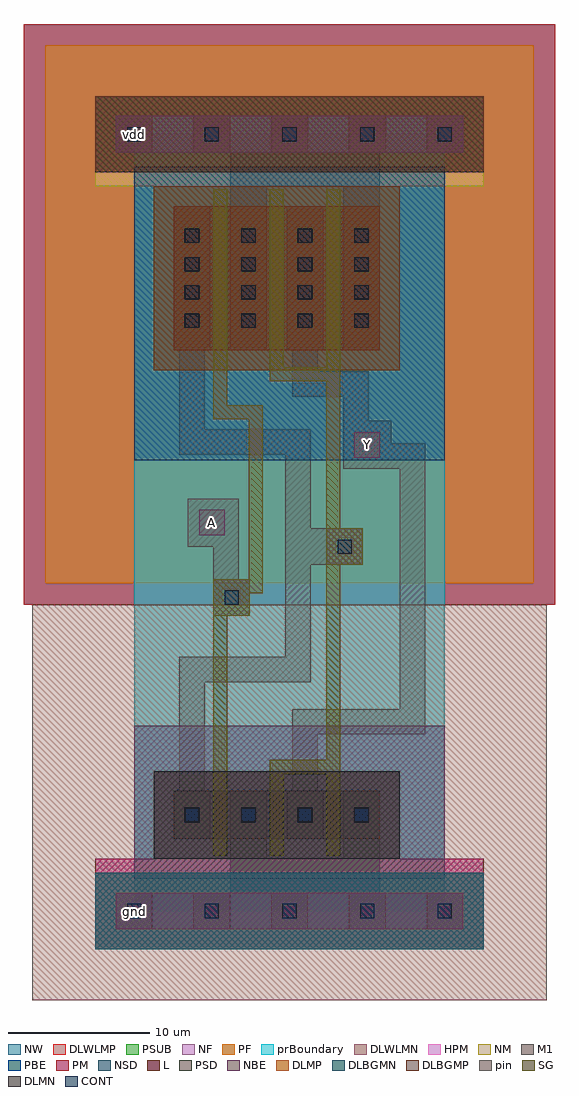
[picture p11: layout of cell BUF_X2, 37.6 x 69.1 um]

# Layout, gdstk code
import gdstk
lib = gdstk.Library(unit=1e-6, precision=1e-09)
def R(c, l, rs):  # rectangles x0, y0, x1, y1
    for r in rs: c.add(gdstk.rectangle(r[:2], r[2:], *l))
def A(c, l, x, y, w, h, nx, ny, dx, dy):  # array of equal rectangles
    R(c, l, [(x+i*dx, y+j*dy, x+i*dx+w, y+j*dy+h) for i in range(nx) for j in range(ny)])
def P(c, l, *ps):  # polygons
    for p in ps: c.add(gdstk.Polygon(p, *l))
L = (3, 0)
NM = (7, 0)
SG = (8, 0)
PSD = (9, 0)
CONT = (11, 0)
M1 = (13, 0)
NF = (25, 0)
PF = (26, 0)
NSD = (28, 0)
HPM = (33, 0)
PM = (35, 0)
NW = (36, 0)
pin = (48, 1)
PSUB = (140, 0)
PBE = (146, 0)
NBE = (147, 0)
DLWLMP = (150, 0)
DLWLMN = (151, 0)
DLMP = (157, 0)
DLMN = (158, 0)
DLBGMP = (177, 0)
DLBGMN = (178, 0)
prBoundary = (235, 0)

buf_x2 = lib.new_cell('BUF_X2')
A(buf_x2, L, -1.3, -1.3, 2.6, 2.6, 5, 2, 5.5, 55)
R(buf_x2, L, [(2.8,5.1,17.4,8.5), (2.8,39.7,17.4,49.9)])
R(buf_x2, NM, [(-2.75,-2.7,24.75,2.7)])
P(buf_x2, NM, [(1.4,38.3),(1.4,51.3),(-2.75,51.3),(-2.75,57.7),(24.75,57.7),(24.75,51.3),(18.8,51.3),(18.8,38.3)])
P(buf_x2, SG, [(5.6,3.9),(5.6,23.5),(8.1,23.5),(8.1,34.8),(5.6,34.8),(5.6,51.1),(6.6,51.1),(6.6,35.8),(9.1,35.8),(9.1,22.5),(8.2,22.5),(8.2,20.9),(6.6,20.9),(6.6,3.9)],
  [(9.6,3.9),(9.6,10.7),(13.6,10.7),(13.6,37.5),(9.6,37.5),(9.6,51.1),(10.6,51.1),(10.6,38.5),(13.6,38.5),(13.6,51.1),(14.6,51.1),(14.6,27.1),(16.2,27.1),(16.2,24.5),(14.6,24.5),(14.6,3.9),(13.6,3.9),(13.6,9.7),(10.6,9.7),(10.6,3.9)])
R(buf_x2, PSD, [(1.4,3.7,18.8,9.9), (-2.75,52.3,24.75,57.7)])
A(buf_x2, CONT, -0.5, -0.5, 1, 1, 5, 2, 5.5, 55)
A(buf_x2, CONT, 7.6, 6.3, 1, 1, 3, 2, 4, 35)
A(buf_x2, CONT, 3.6, 41.3, 1, 1, 1, 4, 0, 2)
A(buf_x2, CONT, 7.6, 41.3, 1, 1, 1, 4, 0, 2)
A(buf_x2, CONT, 7.6, 43.3, 1, 1, 3, 3, 4, 2)
R(buf_x2, CONT, [(3.6,6.3,4.6,7.3), (7.6,6.3,8.6,7.3), (6.4,21.7,7.4,22.7), (14.4,25.3,15.4,26.3)])
P(buf_x2, M1, [(-1.3,-1.3),(-1.3,1.3),(6.8,1.3),(6.8,8.5),(9.4,8.5),(9.4,3.7),(14.8,3.7),(14.8,8.5),(17.4,8.5),(17.4,1.3),(23.3,1.3),(23.3,-1.3)],
  [(5.6,20.9),(5.6,25.8),(3.8,25.8),(3.8,29.2),(7.4,29.2),(7.4,23.5),(8.2,23.5),(8.2,20.9)],
  [(2.8,5.1),(2.8,8.5),(3.2,8.5),(3.2,18),(10.7,18),(10.7,32.3),(3.2,32.3),(3.2,39.7),(2.8,39.7),(2.8,49.9),(5.4,49.9),(5.4,39.7),(5,39.7),(5,34.1),(12.5,34.1),(12.5,27.1),(16.2,27.1),(16.2,24.5),(12.5,24.5),(12.5,16.2),(5,16.2),(5,8.5),(5.4,8.5),(5.4,5.1)],
  [(10.8,5.1),(10.8,8.5),(11.2,8.5),(11.2,14.3),(18.8,14.3),(18.8,31.3),(14.8,31.3),(14.8,36.4),(11.2,36.4),(11.2,39.7),(10.8,39.7),(10.8,49.9),(13.4,49.9),(13.4,39.7),(13,39.7),(13,38.2),(16.6,38.2),(16.6,34.7),(18.2,34.7),(18.2,33.1),(20.6,33.1),(20.6,12.5),(13,12.5),(13,8.5),(13.4,8.5),(13.4,5.1)],
  [(6.8,39.7),(6.8,53.7),(-1.3,53.7),(-1.3,56.3),(23.3,56.3),(23.3,53.7),(17.4,53.7),(17.4,39.7),(14.8,39.7),(14.8,51.3),(9.4,51.3),(9.4,39.7)])
R(buf_x2, NF, [(-6.3,23.2,28.3,61.3)])
R(buf_x2, PF, [(-6.3,23.2,28.3,61.3)])
R(buf_x2, NSD, [(-2.75,-2.7,24.75,2.7), (1.4,38.3,18.8,51.3)])
P(buf_x2, HPM, [(-2.75,-2.7),(-2.75,3.7),(1.4,3.7),(1.4,9.9),(18.8,9.9),(18.8,3.7),(24.75,3.7),(24.75,-2.7)],
  [(1.4,38.3),(1.4,51.3),(-2.75,51.3),(-2.75,57.7),(24.75,57.7),(24.75,51.3),(18.8,51.3),(18.8,38.3)])
R(buf_x2, PM, [(-2.75,52.3,24.75,57.7)])
P(buf_x2, PM, [(-2.75,-2.7),(-2.75,3.7),(1.4,3.7),(1.4,9.9),(18.8,9.9),(18.8,3.7),(24.75,3.7),(24.75,-2.7)])
R(buf_x2, NW, [(-7.8,21.7,29.8,62.8)])
R(buf_x2, pin, [(-1.3,-1.3,23.3,1.3), (4.6,26.6,6.4,28.4), (15.6,32.1,17.4,33.9), (-1.3,53.7,23.3,56.3)])
R(buf_x2, PSUB, [(-6.3,23.2,28.3,61.3)])
R(buf_x2, PBE, [(0,31.9,22,52.7)])
R(buf_x2, NBE, [(0,2.3,22,13.1)])
R(buf_x2, DLWLMP, [(-7.8,21.7,29.8,62.8)])
R(buf_x2, DLWLMN, [(-7.2,-6.3,29.2,21.7)])
R(buf_x2, DLMP, [(1.4,38.3,18.8,51.3)])
R(buf_x2, DLMN, [(1.4,3.7,18.8,9.9)])
R(buf_x2, DLBGMP, [(-2.75,52.3,24.75,57.7)])
R(buf_x2, DLBGMN, [(-2.75,-2.7,24.75,2.7)])
R(buf_x2, prBoundary, [(0,0,22,55)])
buf_x2.add(gdstk.Label('Y', (16.5,33), layer=48, texttype=0))
buf_x2.add(gdstk.Label('A', (5.5,27.5), layer=48, texttype=0))
buf_x2.add(gdstk.Label('vdd', (0,55), layer=48, texttype=0))
buf_x2.add(gdstk.Label('gnd', (0,0), layer=48, texttype=0))

lib.write_gds('BUF_X2.gds')
